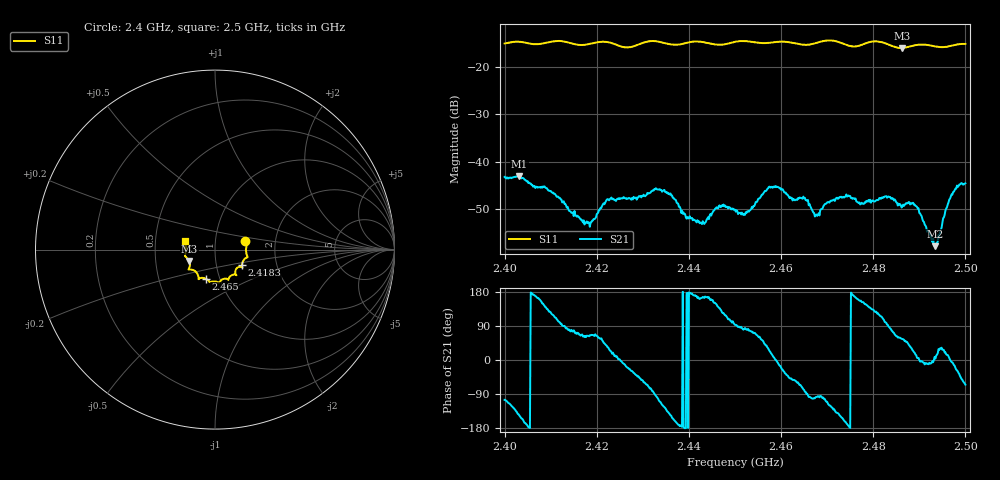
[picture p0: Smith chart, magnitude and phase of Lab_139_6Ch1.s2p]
# Hz S RI R 50
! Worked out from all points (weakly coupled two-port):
!   601 points, 2.4 GHz to 2.5 GHz, reference 50 ohm
!   highest |S21| = -43.08 dB at 2.4032 GHz (marker M1); lowest = -57.8 dB at 2.4933 GHz (marker M2)
!   lowest |S11| = -16.1 dB at 2.4862 GHz (marker M3), VSWR 1.37, Z = 37.2 - j4.82 ohm
!   |S11| at or under -10 dB: start of sweep to end of sweep
!   S12 and S22 are empty: the file has one direction only
!   S11 on the Smith chart (normalised r, x): 2.4 GHz: 1.40, +0.13; 2.4183 GHz: 1.33, -0.24; 2.465 GHz: 0.86, -0.29; 2.5 GHz: 0.71, +0.07
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2.4e9  0.1694 0.0459  -0.00181 -0.00664  0 0  0 0
2.403167e9  0.1801 0.0322  -0.00581 -0.00393  0 0  0 0
2.4105e9  0.1806 -0.0373  -0.00227 0.00413  0 0  0 0
2.416667e9  0.1549 -0.068  0.000967 0.00221  0 0  0 0
2.418333e9  0.15 -0.0871  0.00104 0.00201  0 0  0 0
2.422667e9  0.151 -0.0986  0.00342 0.00187  0 0  0 0
2.433333e9  0.1178 -0.1411  -0.00112 -0.00496  0 0  0 0
2.442833e9  0.0729 -0.1672  -0.00211 0.000599  0 0  0 0
2.447e9  0.0436 -0.1647  -0.00218 0.00252  0 0  0 0
2.45e9  0.0254 -0.181  -0.000148 0.00311  0 0  0 0
2.452667e9  0.02 -0.1841  0.000516 0.00295  0 0  0 0
2.457833e9  -0.017 -0.1785  0.00511 0.0016  0 0  0 0
2.465e9  -0.0524 -0.1618  0.000768 -0.00403  0 0  0 0
2.466667e9  -0.0714 -0.1573  -0.000615 -0.00306  0 0  0 0
2.467833e9  -0.0824 -0.1588  -0.000332 -0.00266  0 0  0 0
2.474333e9  -0.0966 -0.1381  -0.0042 -0.000801  0 0  0 0
2.483333e9  -0.1413 -0.0961  0.000122 0.00428  0 0  0 0
2.486167e9  -0.1439 -0.0632  0.00184 0.00271  0 0  0 0
2.489333e9  -0.1642 -0.0396  0.00331 0.000734  0 0  0 0
2.493333e9  -0.1631 -0.0168  0.00127 0.000185  0 0  0 0
2.497e9  -0.164 0.0279  0.00448 -0.00042  0 0  0 0
2.5e9  -0.1672 0.047  0.00248 -0.00535  0 0  0 0
